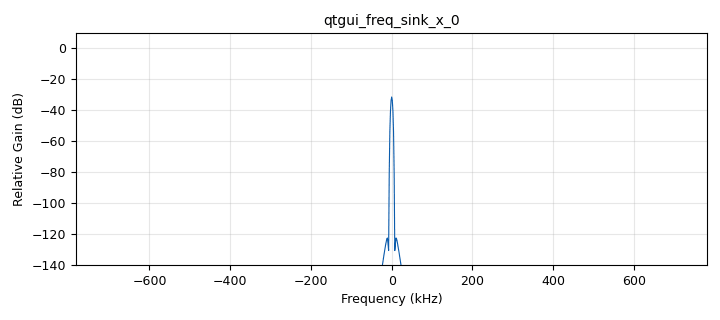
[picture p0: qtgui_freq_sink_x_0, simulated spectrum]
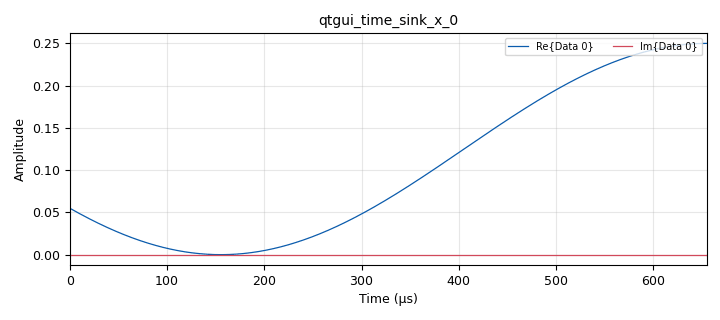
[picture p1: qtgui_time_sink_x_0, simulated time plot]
options:
  parameters:
    generate_options: qt_gui
    id: Practica2_ParteB_Punto1
    output_language: python
    title: Not titled yet
  states: {}

blocks:
- name: Ac
  id: variable_qtgui_range
  parameters:
    label: Amplitudportadora
    start: '0'
    step: '1e-3'
    stop: '1'
    value: '125e-3'
  states: {}
- name: Am
  id: variable_qtgui_range
  parameters:
    label: Amplitud del mensaje
    start: '0'
    step: '100e-3'
    stop: '4'
    value: '1'
  states: {}
- name: B
  id: variable_qtgui_range
  parameters:
    label: Cambio de banda
    start: '-1'
    step: '2'
    stop: '1'
    value: '1'
  states: {}
- name: GTX
  id: variable_qtgui_range
  parameters:
    label: Ganancia_transmisor
    start: '0'
    step: '1'
    stop: '30'
    value: '0'
  states: {}
- name: fc
  id: variable_qtgui_range
  parameters:
    label: Frecuencia portadora
    start: 50e6
    step: 1e6
    stop: 2.2e9
    value: 50e6
  states: {}
- name: fm
  id: variable_qtgui_range
  parameters:
    label: Frecuencia del mensaje
    start: '300'
    step: '100'
    stop: samp_rate/4
    value: '1000'
  states: {}
- name: ka
  id: variable_qtgui_range
  parameters:
    label: ka
    start: '0'
    step: '0.01'
    stop: '4'
    value: '1'
  states: {}
- name: samp_rate
  id: variable
  parameters:
    value: 1.5625e6
  states: {}
- name: analog_sig_source_x_0
  id: analog_sig_source_x
  parameters:
    amp: Am
    freq: fm
    offset: '0'
    phase: '0'
    samp_rate: samp_rate
    type: float
    waveform: analog.GR_COS_WAVE
  states: {}
- name: blocks_add_const_vxx_0
  id: blocks_add_const_vxx
  parameters:
    const: '1'
    type: float
  states: {}
- name: blocks_float_to_complex_0
  id: blocks_float_to_complex
  parameters: {}
  states: {}
- name: blocks_multiply_const_vxx_0
  id: blocks_multiply_const_vxx
  parameters:
    const: ka
    type: float
  states: {}
- name: blocks_multiply_const_vxx_1
  id: blocks_multiply_const_vxx
  parameters:
    const: Ac
    type: complex
  states: {}
- name: blocks_null_source_0
  id: blocks_null_source
  parameters:
    type: float
  states: {}
- name: blocks_throttle2_1
  id: blocks_throttle2
  parameters:
    samples_per_second: samp_rate
    type: float
  states: {}
- name: qtgui_freq_sink_x_0
  id: qtgui_freq_sink_x
  parameters:
    bw: samp_rate
    fc: '0'
    fftsize: '1024'
    type: complex
  states: {}
- name: qtgui_time_sink_x_0
  id: qtgui_time_sink_x
  parameters:
    autoscale: 'True'
    size: '1024'
    srate: samp_rate
    type: complex
  states: {}
- name: uhd_usrp_sink_0
  id: uhd_usrp_sink
  parameters:
    ant0: '"TX/RX"'
    center_freq0: fc
    gain0: GTX
    samp_rate: samp_rate
    sync: pc_clock
    type: fc32
  states: {}

connections:
- [analog_sig_source_x_0, '0', blocks_throttle2_1, '0']
- [blocks_add_const_vxx_0, '0', blocks_float_to_complex_0, '0']
- [blocks_float_to_complex_0, '0', blocks_multiply_const_vxx_1, '0']
- [blocks_multiply_const_vxx_0, '0', blocks_add_const_vxx_0, '0']
- [blocks_multiply_const_vxx_1, '0', qtgui_freq_sink_x_0, '0']
- [blocks_multiply_const_vxx_1, '0', qtgui_time_sink_x_0, '0']
- [blocks_multiply_const_vxx_1, '0', uhd_usrp_sink_0, '0']
- [blocks_null_source_0, '0', blocks_float_to_complex_0, '1']
- [blocks_throttle2_1, '0', blocks_multiply_const_vxx_0, '0']

metadata:
  file_format: 1
  grc_version: v3.11.0.0git-810-g1ecb8565
